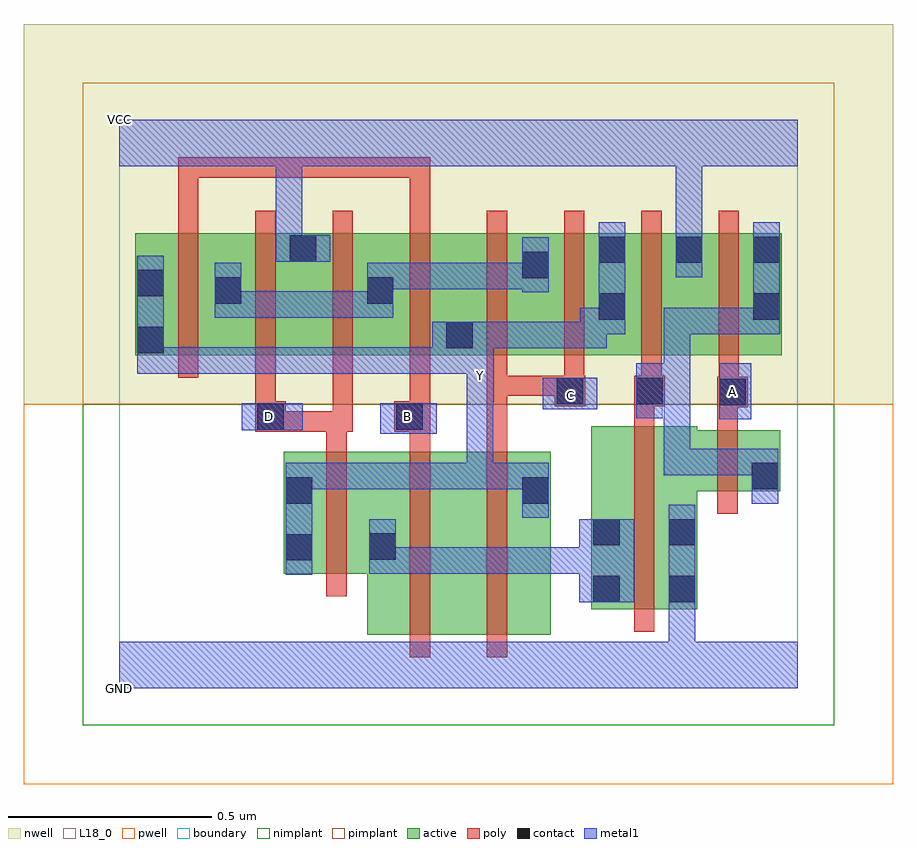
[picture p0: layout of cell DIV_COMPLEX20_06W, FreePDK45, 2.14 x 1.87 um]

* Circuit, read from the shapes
.subckt DIV_COMPLEX20_06W A B C D GND VCC Y
M1 n1 D Y VSUBS nfet w=0.3u l=0.05u
M2 n2 B n1 VSUBS nfet w=0.45u l=0.05u
M3 Y C n2 VSUBS nfet w=0.45u l=0.05u
M4 GND n3 n1 VSUBS nfet w=0.45u l=0.05u
M5 n3 A GND VSUBS nfet w=0.15u l=0.05u
M6 n4 B Y n5 pfet w=0.3u l=0.05u m=2
M7 VCC D n4 n5 pfet w=0.3u l=0.05u m=2
M8 n4 C Y n5 pfet w=0.3u l=0.05u m=2
M9 VCC n3 Y n5 pfet w=0.3u l=0.05u
M10 n3 A VCC n5 pfet w=0.3u l=0.05u
.ends

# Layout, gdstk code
import gdstk
lib = gdstk.Library(unit=1e-6, precision=1e-09)
def R(c, l, rs):  # rectangles x0, y0, x1, y1
    for r in rs: c.add(gdstk.rectangle(r[:2], r[2:], *l))
def A(c, l, x, y, w, h, nx, ny, dx, dy):  # array of equal rectangles
    R(c, l, [(x+i*dx, y+j*dy, x+i*dx+w, y+j*dy+h) for i in range(nx) for j in range(ny)])
active = (1, 0)
pwell = (2, 0)
nwell = (3, 0)
nimplant = (4, 0)
pimplant = (5, 0)
poly = (9, 0)
contact = (10, 0)
metal1 = (11, 0)
L18_0 = (18, 0)
boundary = (235, 0)

div_complex20_06w = lib.new_cell('DIV_COMPLEX20_06W')
R(div_complex20_06w, active, [(0.61,0.132,0.835,0.582), (0.835,0.132,1.062,0.582), (0.987,0.195,1.062,0.582), (1.162,0.195,1.422,0.645), (1.162,0.195,1.237,0.645), (1.347,0.195,1.422,0.572), (0.61,0.2,0.685,0.532), (0.405,0.282,0.685,0.582), (0.405,0.282,0.48,0.582), (1.347,0.485,1.627,0.635), (1.552,0.485,1.627,0.635), (0.04,0.82,0.305,1.12), (0.04,0.82,0.115,1.055), (0.23,0.82,0.305,1.12), (0.23,0.82,0.49,1.12), (0.415,0.82,0.68,1.12), (0.605,0.82,0.875,1.12), (0.8,0.82,1.062,1.12), (0.987,0.82,1.25,1.12), (1.175,0.82,1.25,1.12), (1.175,0.82,1.44,1.12), (1.365,0.82,1.44,1.12), (1.365,0.82,1.63,1.12), (1.555,0.82,1.63,1.117), (0.8,0.832,0.875,1.055), (0.415,0.882,0.49,1.12), (0.605,0.882,0.68,1.12), (0.987,0.882,1.062,1.12)])
R(div_complex20_06w, pwell, [(-0.235,-0.235,1.905,0.7)])
R(div_complex20_06w, nwell, [(-0.235,0.7,1.905,1.635)])
R(div_complex20_06w, nimplant, [(-0.09,-0.09,1.76,0.7)])
R(div_complex20_06w, pimplant, [(-0.09,0.7,1.76,1.49)])
A(div_complex20_06w, poly, 0.905, 0.72, 0.05, 0.095, 3, 1, 0.19, 0)
A(div_complex20_06w, poly, 0.145, 0.765, 0.05, 0.41, 8, 1, 0.19, 0)
R(div_complex20_06w, poly, [(0.715,0.077,0.765,0.637), (0.905,0.077,0.955,0.637), (1.267,0.14,1.317,0.7), (0.51,0.227,0.56,0.637), (1.472,0.43,1.522,0.69), (0.51,0.587,0.56,0.682), (0.715,0.587,0.765,0.682), (0.905,0.587,0.955,0.77), (0.335,0.632,0.41,0.707), (0.36,0.632,0.41,0.682), (0.36,0.632,0.41,0.682), (0.36,0.632,0.56,0.682), (0.51,0.632,0.575,0.682), (0.525,0.632,0.575,0.815), (0.677,0.632,0.765,0.707), (1.472,0.64,1.522,0.742), (1.267,0.65,1.317,0.745), (0.335,0.657,0.385,0.815), (0.715,0.657,0.765,0.815), (1.472,0.692,1.547,0.767), (1.072,0.695,1.147,0.77), (1.267,0.695,1.342,0.77), (1.475,0.717,1.525,0.815), (0.905,0.72,1.122,0.77), (0.905,0.72,0.955,0.77), (0.905,0.72,0.955,0.77), (0.905,0.72,0.955,0.77), (0.145,1.125,0.195,1.307), (0.715,1.125,0.765,1.307), (0.145,1.257,0.195,1.307), (0.145,1.257,0.195,1.307), (0.145,1.257,0.195,1.307), (0.145,1.257,0.427,1.307), (0.377,1.257,0.427,1.307), (0.377,1.257,0.427,1.307), (0.377,1.257,0.427,1.307), (0.377,1.257,0.595,1.307), (0.545,1.257,0.595,1.307), (0.545,1.257,0.765,1.307), (0.715,1.257,0.765,1.307), (0.715,1.257,0.765,1.307), (0.715,1.257,0.765,1.307)])
A(div_complex20_06w, contact, 1.18, 1.047, 0.065, 0.065, 3, 1, 0.19, 0)
R(div_complex20_06w, contact, [(1.167,0.212,1.232,0.277), (1.352,0.212,1.417,0.277), (0.41,0.315,0.475,0.38), (0.615,0.317,0.68,0.382), (1.167,0.352,1.232,0.417), (1.352,0.352,1.417,0.417), (0.41,0.455,0.475,0.52), (0.992,0.455,1.057,0.52), (1.557,0.49,1.622,0.555), (0.34,0.637,0.405,0.702), (0.682,0.637,0.747,0.702), (1.477,0.697,1.542,0.762), (1.077,0.7,1.142,0.765), (1.272,0.7,1.337,0.765), (0.045,0.825,0.11,0.89), (0.805,0.837,0.87,0.902), (1.18,0.907,1.245,0.972), (1.56,0.907,1.625,0.972), (0.235,0.947,0.3,1.012), (0.61,0.947,0.675,1.012), (0.045,0.965,0.11,1.03), (0.992,1.01,1.057,1.075), (0.42,1.05,0.485,1.115)])
R(div_complex20_06w, metal1, [(0,0,1.67,0.115), (1.352,0.05,1.417,0.115), (1.352,0.05,1.417,0.115), (1.352,0.05,1.417,0.242), (1.352,0.177,1.417,0.452), (1.132,0.212,1.267,0.417), (0.41,0.28,0.475,0.555), (0.615,0.282,0.68,0.347), (0.615,0.282,0.68,0.347), (0.615,0.282,0.68,0.417), (0.615,0.282,0.92,0.347), (0.855,0.282,0.92,0.347), (0.855,0.282,0.92,0.347), (0.855,0.282,0.92,0.347), (0.855,0.282,1.057,0.347), (0.992,0.282,1.057,0.347), (0.992,0.282,1.197,0.347), (1.132,0.282,1.197,0.347), (1.132,0.282,1.197,0.347), (0.992,0.42,1.057,0.555), (1.557,0.455,1.622,0.59), (0.41,0.49,0.475,0.555), (0.41,0.49,0.475,0.555), (0.41,0.49,0.697,0.555), (0.632,0.49,0.697,0.555), (0.632,0.49,0.697,0.555), (0.632,0.49,0.697,0.555), (0.632,0.49,0.92,0.555), (0.855,0.49,0.92,0.555), (0.855,0.49,0.92,0.555), (0.855,0.49,0.92,0.555), (0.855,0.49,1.057,0.555), (0.855,0.49,0.92,0.767), (1.34,0.525,1.405,0.59), (1.34,0.525,1.405,0.8), (1.34,0.525,1.622,0.59), (1.557,0.525,1.622,0.59), (1.557,0.525,1.622,0.59), (0.642,0.627,0.782,0.702), (0.302,0.635,0.452,0.702), (1.477,0.662,1.555,0.8), (1.272,0.665,1.337,0.8), (1.042,0.687,1.177,0.765), (0.855,0.702,0.922,0.84), (1.272,0.735,1.405,0.8), (1.34,0.735,1.405,0.8), (1.34,0.735,1.405,0.937), (0.045,0.775,0.247,0.84), (0.045,0.775,0.11,0.855), (0.182,0.775,0.247,0.84), (0.182,0.775,0.247,0.84), (0.182,0.775,0.247,0.84), (0.182,0.775,0.437,0.84), (0.372,0.775,0.437,0.84), (0.372,0.775,0.437,0.84), (0.372,0.775,0.437,0.84), (0.372,0.775,0.612,0.84), (0.547,0.775,0.612,0.84), (0.547,0.775,0.612,0.84), (0.547,0.775,0.612,0.84), (0.547,0.775,0.835,0.84), (0.77,0.775,0.92,0.902), (0.855,0.775,0.92,0.84), (0.045,0.79,0.11,0.855), (0.045,0.79,0.11,1.065), (0.855,0.837,0.92,0.902), (0.855,0.837,0.92,0.902), (0.855,0.837,1.06,0.902), (0.995,0.837,1.06,0.902), (0.995,0.837,1.2,0.902), (1.135,0.837,1.2,0.937), (1.135,0.872,1.245,0.937), (1.18,0.872,1.245,1.147), (1.34,0.872,1.405,0.937), (1.34,0.872,1.625,0.937), (1.56,0.872,1.625,0.937), (1.56,0.872,1.625,0.937), (1.56,0.872,1.625,1.147), (0.235,0.912,0.3,0.977), (0.235,0.912,0.3,0.977), (0.235,0.912,0.3,1.047), (0.235,0.912,0.475,0.977), (0.41,0.912,0.475,0.977), (0.41,0.912,0.475,0.977), (0.41,0.912,0.475,0.977), (0.41,0.912,0.675,0.977), (0.61,0.912,0.675,1.047), (0.992,0.975,1.057,1.11), (0.61,0.982,0.675,1.047), (0.61,0.982,0.675,1.047), (0.61,0.982,0.92,1.047), (0.855,0.982,0.92,1.047), (0.855,0.982,0.92,1.047), (0.855,0.982,0.92,1.047), (0.855,0.982,1.057,1.047), (1.37,1.012,1.435,1.147), (0.385,1.05,0.45,1.35), (0.385,1.05,0.52,1.115), (1.37,1.082,1.435,1.147), (1.37,1.082,1.435,1.147), (1.37,1.082,1.435,1.35), (0,1.285,1.67,1.4), (0.385,1.285,0.45,1.35), (0.385,1.285,0.45,1.35)])
R(div_complex20_06w, L18_0, [(0,0,1.67,0.115), (1.352,0.05,1.417,0.115), (1.352,0.05,1.417,0.115), (1.352,0.05,1.417,0.242), (1.352,0.177,1.417,0.452), (0.41,0.28,0.475,0.555), (0.992,0.42,1.057,0.555), (0.41,0.49,0.475,0.555), (0.41,0.49,0.475,0.555), (0.41,0.49,0.697,0.555), (0.632,0.49,0.697,0.555), (0.632,0.49,0.697,0.555), (0.632,0.49,0.697,0.555), (0.632,0.49,0.92,0.555), (0.855,0.49,0.92,0.555), (0.855,0.49,0.92,0.555), (0.855,0.49,0.92,0.555), (0.855,0.49,1.057,0.555), (0.855,0.49,0.92,0.767), (0.642,0.627,0.782,0.702), (0.302,0.635,0.452,0.702), (0.337,0.637,0.402,0.702), (0.677,0.637,0.742,0.702), (1.477,0.662,1.555,0.8), (1.042,0.687,1.177,0.765), (1.077,0.687,1.142,0.752), (1.477,0.697,1.542,0.762), (0.855,0.702,0.922,0.84), (0.857,0.737,0.922,0.802), (0.045,0.775,0.11,0.855), (0.045,0.775,0.247,0.84), (0.182,0.775,0.247,0.84), (0.182,0.775,0.247,0.84), (0.182,0.775,0.247,0.84), (0.182,0.775,0.437,0.84), (0.372,0.775,0.437,0.84), (0.372,0.775,0.437,0.84), (0.372,0.775,0.437,0.84), (0.372,0.775,0.612,0.84), (0.547,0.775,0.612,0.84), (0.547,0.775,0.612,0.84), (0.547,0.775,0.612,0.84), (0.547,0.775,0.835,0.84), (0.77,0.775,0.92,0.902), (0.855,0.775,0.92,0.84), (0.045,0.79,0.11,1.065), (0.045,0.79,0.11,0.855), (0.855,0.837,0.92,0.902), (0.855,0.837,0.92,0.902), (0.855,0.837,1.06,0.902), (0.995,0.837,1.06,0.902), (0.995,0.837,1.2,0.902), (1.135,0.837,1.2,0.937), (1.135,0.872,1.245,0.937), (1.18,0.872,1.245,1.147), (1.37,1.012,1.435,1.147), (0.385,1.05,0.52,1.115), (0.385,1.05,0.45,1.35), (1.37,1.082,1.435,1.147), (1.37,1.082,1.435,1.147), (1.37,1.082,1.435,1.35), (0,1.285,1.67,1.4), (0.385,1.285,0.45,1.35), (0.385,1.285,0.45,1.35)])
R(div_complex20_06w, boundary, [(0,0,1.67,1.4)])
div_complex20_06w.add(gdstk.Label('A', (1.51,0.73), layer=11, texttype=0))
div_complex20_06w.add(gdstk.Label('B', (0.71,0.67), layer=11, texttype=0))
div_complex20_06w.add(gdstk.Label('C', (1.11,0.72), layer=11, texttype=0))
div_complex20_06w.add(gdstk.Label('D', (0.37,0.67), layer=11, texttype=0))
div_complex20_06w.add(gdstk.Label('Y', (0.89,0.77), layer=11, texttype=0))
div_complex20_06w.add(gdstk.Label('VCC', (0,1.4), layer=11, texttype=0))
div_complex20_06w.add(gdstk.Label('GND', (0,0), layer=11, texttype=0))

lib.write_gds('DIV_COMPLEX20_06W.gds')
